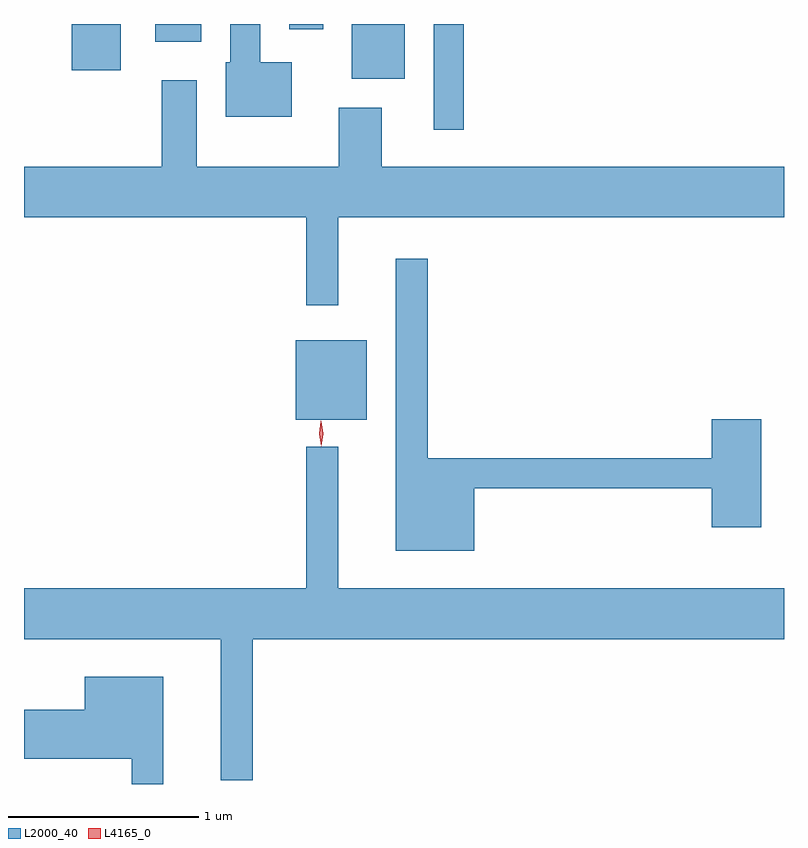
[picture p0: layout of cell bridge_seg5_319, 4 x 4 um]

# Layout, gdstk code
import gdstk
lib = gdstk.Library(unit=1e-6, precision=1e-09)
def R(c, l, rs):  # rectangles x0, y0, x1, y1
    for r in rs: c.add(gdstk.rectangle(r[:2], r[2:], *l))
def P(c, l, *ps):  # polygons
    for p in ps: c.add(gdstk.Polygon(p, *l))
L2000_40 = (2000, 40)
L4165_0 = (4165, 0)

bridge_seg5_319 = lib.new_cell('bridge_seg5_319')
R(bridge_seg5_319, L2000_40, [(627.846,1417.991,628.219,1418.409), (628.571,1419.518,628.729,1420.074), (628.141,1419.786,628.419,1420.074), (626.666,1419.831,626.924,1420.074), (627.106,1419.981,627.349,1420.074), (627.811,1420.046,627.989,1420.074)])
P(bridge_seg5_319, L2000_40, [(627.824,1419.874),(627.659,1419.874),(627.659,1420.074),(627.501,1420.074),(627.501,1419.874),(627.476,1419.874),(627.476,1419.586),(627.824,1419.586)],
  [(628.069,1419.056),(630.415,1419.056),(630.415,1419.324),(628.299,1419.324),(628.299,1419.634),(628.071,1419.634),(628.071,1419.324),(627.324,1419.324),(627.324,1419.779),(627.141,1419.779),(627.141,1419.324),(626.415,1419.324),(626.415,1419.056),(627.901,1419.056),(627.901,1418.593),(628.069,1418.593)],
  [(628.784,1417.631),(630.036,1417.631),(630.036,1417.426),(630.294,1417.426),(630.294,1417.994),(630.036,1417.994),(630.036,1417.789),(628.539,1417.789),(628.539,1418.838),(628.371,1418.838),(628.371,1417.301),(628.784,1417.301)],
  [(627.619,1416.836),(630.415,1416.836),(630.415,1417.104),(628.069,1417.104),(628.069,1417.848),(627.901,1417.848),(627.901,1417.104),(626.415,1417.104),(626.415,1416.836),(627.451,1416.836),(627.451,1416.093),(627.619,1416.093)],
  [(627.149,1416.639),(626.736,1416.639),(626.736,1416.464),(626.415,1416.464),(626.415,1416.206),(626.981,1416.206),(626.981,1416.074),(627.149,1416.074)])
P(bridge_seg5_319, L4165_0, [(627.98,1417.85),(627.98,1417.851),(627.969,1417.917),(627.978,1417.984),(627.978,1417.985),(627.979,1417.984),(627.989,1417.917),(627.98,1417.851)])

lib.write_gds('bridge_seg5_319.gds')
